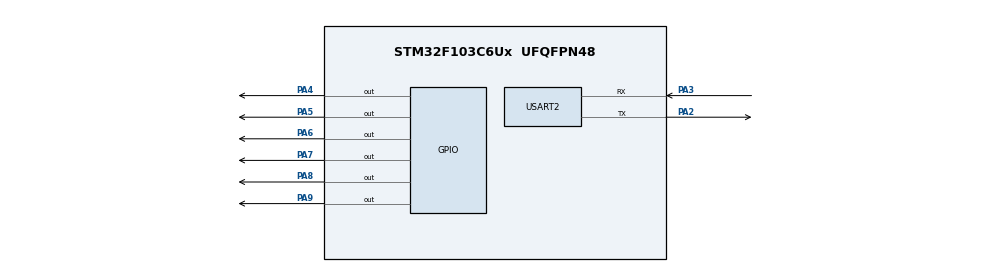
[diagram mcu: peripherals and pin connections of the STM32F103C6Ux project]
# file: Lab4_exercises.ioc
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Mcu.Family=STM32F1
Mcu.Name=STM32F103C6Ux
Mcu.Package=UFQFPN48
NVIC.PriorityGroup=NVIC_PRIORITYGROUP_4
NVIC.TIM2_IRQn=true\:0\:0\:false\:false\:true\:true\:true
PA2.Mode=Asynchronous
PA2.Signal=USART2_TX
PA3.Mode=Asynchronous
PA3.Signal=USART2_RX
PA4.PinState=GPIO_PIN_SET
PA4.Signal=GPIO_Output
PA5.PinState=GPIO_PIN_SET
PA5.Signal=GPIO_Output
PA6.PinState=GPIO_PIN_SET
PA6.Signal=GPIO_Output
PA7.PinState=GPIO_PIN_SET
PA7.Signal=GPIO_Output
PA8.PinState=GPIO_PIN_SET
PA8.Signal=GPIO_Output
PA9.PinState=GPIO_PIN_SET
PA9.Signal=GPIO_Output
ProjectManager.HeapSize=0x200
ProjectManager.StackSize=0x400
ProjectManager.TargetToolchain=STM32CubeIDE
RCC.APB1Freq_Value=8000000
RCC.APB2Freq_Value=8000000
TIM2.Period=9
TIM2.Prescaler=7999
USART2.VirtualMode=VM_ASYNC
VP_SYS_VS_ND.Mode=No_Debug
VP_TIM2_VS_ClockSourceINT.Mode=Internal
board=custom

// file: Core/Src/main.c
/* USER CODE BEGIN Header */
/* USER CODE END Header */
#include "main.h"

/* USER CODE BEGIN Includes */
#include <stdio.h>
#include <string.h>
#include "scheduler.h"
/* USER CODE END Includes */

/* USER CODE BEGIN PD */
#define LED_PORT GPIOA
#define LED_T1 GPIO_PIN_4
#define LED_T2 GPIO_PIN_5
#define LED_T3 GPIO_PIN_6
#define LED_T4 GPIO_PIN_7
#define LED_T5 GPIO_PIN_8
#define LED_ONESHOT GPIO_PIN_9
#define LED_ON GPIO_PIN_RESET
#define LED_OFF GPIO_PIN_SET
#define ONESHOT_FLASH_TICKS 20
/* USER CODE END PD */

TIM_HandleTypeDef htim2;

UART_HandleTypeDef huart2;

/* USER CODE BEGIN PV */
static uint32_t id_tick10 = NO_TASK_ID;
/* USER CODE END PV */

void SystemClock_Config(void);
static void MX_GPIO_Init(void);
static void MX_TIM2_Init(void);
static void MX_USART2_UART_Init(void);

/* USER CODE BEGIN 0 */
static void uart_puts(const char *s)
{
    HAL_UART_Transmit(&huart2, (uint8_t *)s, (uint16_t)strlen(s), 100);
}

static void log_event(uint32_t t, const char *msg)
{
    char buf[40];
    snprintf(buf, sizeof(buf), "%6lu  %s\r\n", (unsigned long)t, msg);
    uart_puts(buf);
}

static void log_value(const char *msg, unsigned long value)
{
    char buf[48];
    snprintf(buf, sizeof(buf), "%s%lu\r\n", msg, value);
    uart_puts(buf);
}

static void task_0_5s(void)
{
    uint32_t t = get_time();
    HAL_GPIO_TogglePin(LED_PORT, LED_T1);
    log_event(t, "T1 0.5s");
}

static void task_1s(void)
{
    uint32_t t = get_time();
    HAL_GPIO_TogglePin(LED_PORT, LED_T2);
    log_event(t, "T2 1.0s");
}

static void task_1_5s(void)
{
    uint32_t t = get_time();
    HAL_GPIO_TogglePin(LED_PORT, LED_T3);
    log_event(t, "T3 1.5s");
}

static void task_2s(void)
{
    uint32_t t = get_time();
    HAL_GPIO_TogglePin(LED_PORT, LED_T4);
    log_event(t, "T4 2.0s");
}

static void task_2_5s(void)
{
    uint32_t t = get_time();
    HAL_GPIO_TogglePin(LED_PORT, LED_T5);
    log_event(t, "T5 2.5s");
}

static void task_tick_10ms(void)
{
    log_event(get_time(), "tick");
}

static void oneshot_led_off(void)
{
    HAL_GPIO_WritePin(LED_PORT, LED_ONESHOT, LED_OFF);
}

static void oneshot_flash(void)
{
    HAL_GPIO_WritePin(LED_PORT, LED_ONESHOT, LED_ON);
    SCH_Add_Task(oneshot_led_off, ONESHOT_FLASH_TICKS, 0);
}

static void oneshot_stop_tick(void)
{
    uint32_t t = get_time();
    oneshot_flash();
    log_event(t, (SCH_Delete_Task(id_tick10) == RETURN_NORMAL) ? "tick deleted" : "tick del FAIL");
}

static void oneshot_a(void)
{
    log_event(get_time(), "one-shot A");
    oneshot_flash();
}

static void oneshot_b(void)
{
    log_event(get_time(), "one-shot B");
    oneshot_flash();
}

static void oneshot_c(void)
{
    log_event(get_time(), "one-shot C");
    oneshot_flash();
}

static void oneshot_ghost(void)
{
    log_event(get_time(), "GHOST ran!");
}

static void scheduler_setup(void)
{
    uint32_t id_ghost;
    SCH_Init();
    SCH_Add_Task(task_0_5s, 50, 50);
    SCH_Add_Task(task_1s, 100, 100);
    SCH_Add_Task(task_1_5s, 150, 150);
    SCH_Add_Task(task_2s, 200, 200);
    SCH_Add_Task(task_2_5s, 250, 250);
    id_tick10 = SCH_Add_Task(task_tick_10ms, 0, 1);
    SCH_Add_Task(oneshot_stop_tick, 100, 0);
    SCH_Add_Task(oneshot_c, 130, 0);
    SCH_Add_Task(oneshot_a, 70, 0);
    SCH_Add_Task(oneshot_b, 100, 0);
    id_ghost = SCH_Add_Task(oneshot_ghost, 200, 0);
    uart_puts("\r\nLab 4 cooperative scheduler, tick 10 ms\r\n");
    log_value("tick task ID   = ", id_tick10);
    log_value("ghost task ID  = ", id_ghost);
    log_value("delete ghost   -> ", SCH_Delete_Task(id_ghost));
    log_value("delete ID 9999 -> ", SCH_Delete_Task(9999));
    log_value("error code     = ", SCH_Get_Error());
    uart_puts("  t(ms)  event\r\n");
}
/* USER CODE END 0 */

int main(void)
{

  /* MCU Configuration--------------------------------------------------------*/

  /* Reset of all peripherals, Initializes the Flash interface and the Systick. */
  HAL_Init();

  /* Configure the system clock */
  SystemClock_Config();

  /* Initialize all configured peripherals */
  MX_GPIO_Init();
  MX_TIM2_Init();
  MX_USART2_UART_Init();
  /* USER CODE BEGIN 2 */
  scheduler_setup();
  __HAL_TIM_CLEAR_FLAG(&htim2, TIM_FLAG_UPDATE);
  HAL_TIM_Base_Start_IT(&htim2);
  /* USER CODE END 2 */

  /* Infinite loop */
  /* USER CODE BEGIN WHILE */
  while (1)
  {
    SCH_Dispatch_Tasks();
    /* USER CODE END WHILE */

  }
}

void SystemClock_Config(void)
{
  RCC_OscInitTypeDef RCC_OscInitStruct = {0};
  RCC_ClkInitTypeDef RCC_ClkInitStruct = {0};

  /** Initializes the RCC Oscillators according to the specified parameters
  * in the RCC_OscInitTypeDef structure.
  */
  RCC_OscInitStruct.OscillatorType = RCC_OSCILLATORTYPE_HSI;
  RCC_OscInitStruct.HSIState = RCC_HSI_ON;
  RCC_OscInitStruct.HSICalibrationValue = RCC_HSICALIBRATION_DEFAULT;
  RCC_OscInitStruct.PLL.PLLState = RCC_PLL_NONE;
  if (HAL_RCC_OscConfig(&RCC_OscInitStruct) != HAL_OK)
  {
    Error_Handler();
  }

  /** Initializes the CPU, AHB and APB buses clocks
  */
  RCC_ClkInitStruct.ClockType = RCC_CLOCKTYPE_HCLK|RCC_CLOCKTYPE_SYSCLK
                              |RCC_CLOCKTYPE_PCLK1|RCC_CLOCKTYPE_PCLK2;
  RCC_ClkInitStruct.SYSCLKSource = RCC_SYSCLKSOURCE_HSI;
  RCC_ClkInitStruct.AHBCLKDivider = RCC_SYSCLK_DIV1;
  RCC_ClkInitStruct.APB1CLKDivider = RCC_HCLK_DIV1;
  RCC_ClkInitStruct.APB2CLKDivider = RCC_HCLK_DIV1;

  if (HAL_RCC_ClockConfig(&RCC_ClkInitStruct, FLASH_LATENCY_0) != HAL_OK)
  {
    Error_Handler();
  }
}

static void MX_TIM2_Init(void)
{

  TIM_ClockConfigTypeDef sClockSourceConfig = {0};
  TIM_MasterConfigTypeDef sMasterConfig = {0};

  htim2.Instance = TIM2;
  htim2.Init.Prescaler = 7999;
  htim2.Init.CounterMode = TIM_COUNTERMODE_UP;
  htim2.Init.Period = 9;
  htim2.Init.ClockDivision = TIM_CLOCKDIVISION_DIV1;
  htim2.Init.AutoReloadPreload = TIM_AUTORELOAD_PRELOAD_DISABLE;
  if (HAL_TIM_Base_Init(&htim2) != HAL_OK)
  {
    Error_Handler();
  }
  sClockSourceConfig.ClockSource = TIM_CLOCKSOURCE_INTERNAL;
  if (HAL_TIM_ConfigClockSource(&htim2, &sClockSourceConfig) != HAL_OK)
  {
    Error_Handler();
  }
  sMasterConfig.MasterOutputTrigger = TIM_TRGO_RESET;
  sMasterConfig.MasterSlaveMode = TIM_MASTERSLAVEMODE_DISABLE;
  if (HAL_TIMEx_MasterConfigSynchronization(&htim2, &sMasterConfig) != HAL_OK)
  {
    Error_Handler();
  }

}

static void MX_USART2_UART_Init(void)
{

  huart2.Instance = USART2;
  huart2.Init.BaudRate = 115200;
  huart2.Init.WordLength = UART_WORDLENGTH_8B;
  huart2.Init.StopBits = UART_STOPBITS_1;
  huart2.Init.Parity = UART_PARITY_NONE;
  huart2.Init.Mode = UART_MODE_TX_RX;
  huart2.Init.HwFlowCtl = UART_HWCONTROL_NONE;
  huart2.Init.OverSampling = UART_OVERSAMPLING_16;
  if (HAL_UART_Init(&huart2) != HAL_OK)
  {
    Error_Handler();
  }

}

static void MX_GPIO_Init(void)
{
  GPIO_InitTypeDef GPIO_InitStruct = {0};

  /* GPIO Ports Clock Enable */
  __HAL_RCC_GPIOA_CLK_ENABLE();

  /*Configure GPIO pin Output Level */
  HAL_GPIO_WritePin(GPIOA, GPIO_PIN_4|GPIO_PIN_5|GPIO_PIN_6|GPIO_PIN_7
                          |GPIO_PIN_8|GPIO_PIN_9, GPIO_PIN_SET);

  /*Configure GPIO pins : PA4 PA5 PA6 PA7
                           PA8 PA9 */
  GPIO_InitStruct.Pin = GPIO_PIN_4|GPIO_PIN_5|GPIO_PIN_6|GPIO_PIN_7
                          |GPIO_PIN_8|GPIO_PIN_9;
  GPIO_InitStruct.Mode = GPIO_MODE_OUTPUT_PP;
  GPIO_InitStruct.Pull = GPIO_NOPULL;
  GPIO_InitStruct.Speed = GPIO_SPEED_FREQ_LOW;
  HAL_GPIO_Init(GPIOA, &GPIO_InitStruct);

}

/* USER CODE BEGIN 4 */
void HAL_TIM_PeriodElapsedCallback(TIM_HandleTypeDef *htim)
{
    if (htim->Instance == TIM2) {
        SCH_Update();
    }
}
/* USER CODE END 4 */

void Error_Handler(void)
{
  __disable_irq();
  while (1)
  {
  }
}

/************************ (C) COPYRIGHT STMicroelectronics *****END OF FILE****/
